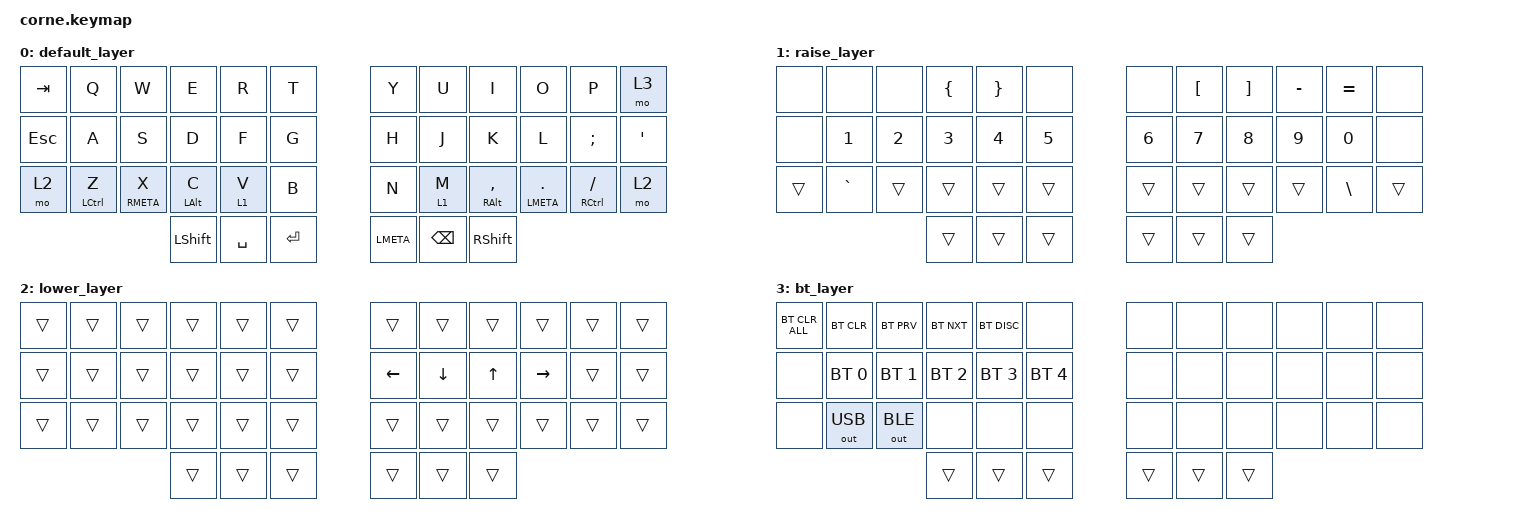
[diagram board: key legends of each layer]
/*
 * Copyright (c) 2020 The ZMK Contributors
 *
 * SPDX-License-Identifier: MIT
 */

#include <behaviors.dtsi>
#include <dt-bindings/zmk/keys.h>
#include <dt-bindings/zmk/bt.h>
#include <dt-bindings/zmk/outputs.h>

&mt {
    flavor = "tap-preferred";
};

/ {
        keymap {
                compatible = "zmk,keymap";

                default_layer {
                        bindings = <
//    ┌──────┬───────────┬───────────┬───────────┬────────┬─────┐   ┌──────┬────────┬───────────┬───────────┬───────────┬──────┐
//    │ tab  │     Q     │     W     │     E     │   R    │  T  │   │  Y   │   U    │     I     │     O     │     P     │ mo 3 │
//    ├──────┼───────────┼───────────┼───────────┼────────┼─────┤   ├──────┼────────┼───────────┼───────────┼───────────┼──────┤
//    │ esc  │     A     │     S     │     D     │   F    │  G  │   │  H   │   J    │     K     │     L     │     ;     │  '   │
//    ├──────┼───────────┼───────────┼───────────┼────────┼─────┤   ├──────┼────────┼───────────┼───────────┼───────────┼──────┤
//    │ mo 2 │ mt lctl Z │ mt rgui X │ mt lalt C │ lt 1 V │  B  │   │  N   │ lt 1 M │ mt ralt , │ mt lgui . │ mt rctl / │ mo 2 │
//    └──────┴───────────┴───────────┼───────────┼────────┼─────┤   ├──────┼────────┼───────────┼───────────┴───────────┴──────┘
//                                   │   lsft    │  spc   │ ent │   │ lgui │  bspc  │   rsft    │
//                                   └───────────┴────────┴─────┘   └──────┴────────┴───────────┘
  &kp TAB   &kp Q         &kp W         &kp E        &kp R       &kp T         &kp Y       &kp U      &kp I            &kp O           &kp P            &mo 3
  &kp ESC   &kp A         &kp S         &kp D        &kp F       &kp G         &kp H       &kp J      &kp K            &kp L           &kp SEMI         &kp SQT
  &mo 2     &mt LCTRL Z   &mt RMETA X   &mt LALT C   &lt 1 V     &kp B         &kp N       &lt 1 M    &mt RALT COMMA   &mt LMETA DOT   &mt RCTRL FSLH   &mo 2
                                        &kp LSHFT    &kp SPACE   &kp RET       &kp LMETA   &kp BSPC   &kp RSHIFT
                        >;
                };

                raise_layer {
                       bindings = <
//    ┌─────┬─────┬─────┬─────┬─────┬─────┐   ┌─────┬─────┬─────┬─────┬───┬─────┐
//    │     │     │     │  {  │  }  │     │   │     │  [  │  ]  │  -  │ = │     │
//    ├─────┼─────┼─────┼─────┼─────┼─────┤   ├─────┼─────┼─────┼─────┼───┼─────┤
//    │     │  1  │  2  │  3  │  4  │  5  │   │  6  │  7  │  8  │  9  │ 0 │     │
//    ├─────┼─────┼─────┼─────┼─────┼─────┤   ├─────┼─────┼─────┼─────┼───┼─────┤
//    │     │  `  │     │     │     │     │   │     │     │     │     │ \ │     │
//    └─────┴─────┴─────┼─────┼─────┼─────┤   ├─────┼─────┼─────┼─────┴───┴─────┘
//                      │     │     │     │   │     │     │     │
//                      └─────┴─────┴─────┘   └─────┴─────┴─────┘
  &none    &none       &none    &kp LBRC   &kp RBRC   &none        &none    &kp LBKT   &kp RBKT   &kp MINUS   &kp EQUAL   &none
  &none    &kp N1      &kp N2   &kp N3     &kp N4     &kp N5       &kp N6   &kp N7     &kp N8     &kp N9      &kp N0      &none
  &trans   &kp GRAVE   &trans   &trans     &trans     &trans       &trans   &trans     &trans     &trans      &kp BSLH    &trans
                                &trans     &trans     &trans       &trans   &trans     &trans
                        >;
                };

                lower_layer {
                       bindings = <
//    ┌─────┬─────┬─────┬─────┬─────┬─────┐   ┌──────┬──────┬─────┬──────┬─────┬─────┐
//    │     │     │     │     │     │     │   │      │      │     │      │     │     │
//    ├─────┼─────┼─────┼─────┼─────┼─────┤   ├──────┼──────┼─────┼──────┼─────┼─────┤
//    │     │     │     │     │     │     │   │ left │ down │ up  │ rght │     │     │
//    ├─────┼─────┼─────┼─────┼─────┼─────┤   ├──────┼──────┼─────┼──────┼─────┼─────┤
//    │     │     │     │     │     │     │   │      │      │     │      │     │     │
//    └─────┴─────┴─────┼─────┼─────┼─────┤   ├──────┼──────┼─────┼──────┴─────┴─────┘
//                      │     │     │     │   │      │      │     │
//                      └─────┴─────┴─────┘   └──────┴──────┴─────┘
  &trans   &trans   &trans   &trans   &trans   &trans       &trans     &trans     &trans   &trans      &trans   &trans
  &trans   &trans   &trans   &trans   &trans   &trans       &kp LEFT   &kp DOWN   &kp UP   &kp RIGHT   &trans   &trans
  &trans   &trans   &trans   &trans   &trans   &trans       &trans     &trans     &trans   &trans      &trans   &trans
                             &trans   &trans   &trans       &trans     &trans     &trans
                        >;
                };

                bt_layer {
                          bindings = <
//    ┌────────────┬──────────┬──────────┬──────────┬────────────┬──────────┐   ┌─────┬─────┬─────┬─────┬─────┬─────┐
//    │ bt_clr_ALL │  bt_clr  │  bt_prv  │  bt_nxt  │ bt_BT_DISC │          │   │     │     │     │     │     │     │
//    ├────────────┼──────────┼──────────┼──────────┼────────────┼──────────┤   ├─────┼─────┼─────┼─────┼─────┼─────┤
//    │            │ bt_sel 0 │ bt_sel 1 │ bt_sel 2 │  bt_sel 3  │ bt_sel 4 │   │     │     │     │     │     │     │
//    ├────────────┼──────────┼──────────┼──────────┼────────────┼──────────┤   ├─────┼─────┼─────┼─────┼─────┼─────┤
//    │            │ out_ usb │ out_ ble │          │            │          │   │     │     │     │     │     │     │
//    └────────────┴──────────┴──────────┼──────────┼────────────┼──────────┤   ├─────┼─────┼─────┼─────┴─────┴─────┘
//                                       │          │            │          │   │     │     │     │
//                                       └──────────┴────────────┴──────────┘   └─────┴─────┴─────┘
  &bt BT_CLR_ALL   &bt BT_CLR     &bt BT_PRV     &bt BT_NXT     &bt BT_DISC    &none              &none    &none    &none    &none   &none   &none
  &none            &bt BT_SEL 0   &bt BT_SEL 1   &bt BT_SEL 2   &bt BT_SEL 3   &bt BT_SEL 4       &none    &none    &none    &none   &none   &none
  &none            &out OUT_USB   &out OUT_BLE   &none          &none          &none              &none    &none    &none    &none   &none   &none
                                                 &trans         &trans         &trans             &trans   &trans   &trans
                          >;
                          };

        };
};

